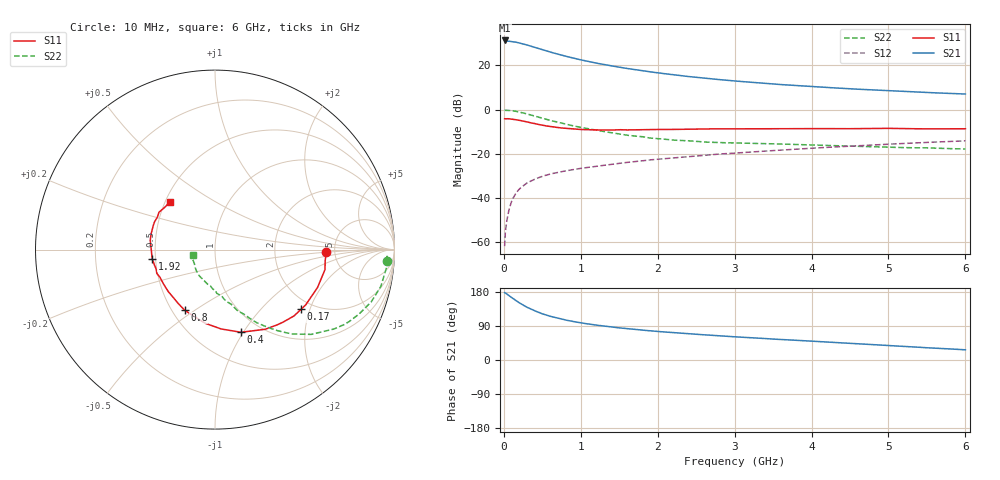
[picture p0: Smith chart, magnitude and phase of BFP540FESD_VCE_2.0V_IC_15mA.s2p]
! Infineon Technologies  Discrete & RF Semiconductors
! BFP540FESD
! VCE =  2.0 V,  IC =  15 mA
! Common Emitter S-Parameters:  Nov 2015
# GHz  S  MA  R  50
!  f  S11  S21  S12  S22
! GHz  MAG  ANG  MAG  ANG  MAG  ANG  MAG  ANG
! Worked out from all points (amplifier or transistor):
!   210 points, 10 MHz to 6 GHz, reference 50 ohm
!   highest |S21| = 31.3 dB at 10 MHz (marker M1)
!   |S21| within 3 dB of that: start of sweep to 389.7 MHz
!   unconditionally stable (mu >= 1): 1.938 GHz to end of sweep
!   at 185 MHz: K = 0.22, MSG = 33.5 dB, |S12| = -36.7 dB
!   at 1.52 GHz: K = 0.92, MSG = 21.7 dB, |S12| = -24.3 dB
!   at 6 GHz: K = 1.19, MAG = 8.0 dB, |S12| = -14.2 dB
!   S11 on the Smith chart (normalised r, x): 10 MHz: 4.26, -0.18; 170 MHz: 1.73, -1.74; 400 MHz: 0.81, -0.98; 800 MHz: 0.58, -0.45; 1.92 GHz: 0.48, -0.05; 6 GHz: 0.53, +0.33
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0.01  0.6205 -1.2  36.88 177.8  0.0008 110.4  0.9626 -3.7
0.02  0.6169 -5.7  35.95 176.8  0.0017 92.3  0.9598 -2.2
0.05  0.6229 -10.3  35.79 172.5  0.0038 89.0  0.9605 -6.1
0.1  0.609 -20.3  34.93 165.0  0.0082 83.2  0.9466 -12.5
0.15  0.5919 -31.3  34.06 157.9  0.0121 78.2  0.9178 -18.5
0.17  0.5835 -34.7  33.35 155.2  0.0135 76.6  0.9014 -20.7
0.2  0.5749 -40.0  32.43 151.0  0.0157 74.7  0.8794 -24.1
0.3  0.5246 -57.8  29.16 139.3  0.0216 69.0  0.7971 -33.7
0.4  0.4829 -72.5  25.8 129.7  0.0263 64.3  0.7144 -41.4
0.5  0.4431 -85.7  22.85 121.9  0.0307 61.7  0.6352 -47.7
0.6  0.4145 -97.3  20.18 115.5  0.0345 59.4  0.5699 -52.4
0.8  0.3771 -116.7  16.26 105.5  0.0406 58.2  0.4674 -60.4
1.02  0.3524 -132.6  13.18 97.5  0.047 57.5  0.389 -66.5
1.2  0.3463 -144.1  11.32 92.1  0.0518 57.2  0.341 -71.6
1.4  0.3435 -153.4  9.795 87.1  0.0575 56.7  0.298 -77.1
1.92  0.3535 -171.9  7.106 76.8  0.0728 55.9  0.2251 -90.4
2.02  0.3536 -175.6  6.736 75.0  0.0752 55.4  0.2185 -93.6
2.6  0.3643 172.5  5.161 66.5  0.0913 53.5  0.184 -108.9
3.1  0.3667 164.6  4.308 60.1  0.1058 51.5  0.1739 -117.0
4.1  0.37 154.5  3.246 48.6  0.1361 46.7  0.1557 -132.2
5.1  0.3726 144.9  2.63 37.0  0.1673 39.6  0.1383 -147.3
6  0.3674 133.2  2.251 26.9  0.1953 32.8  0.1276 -167.0
